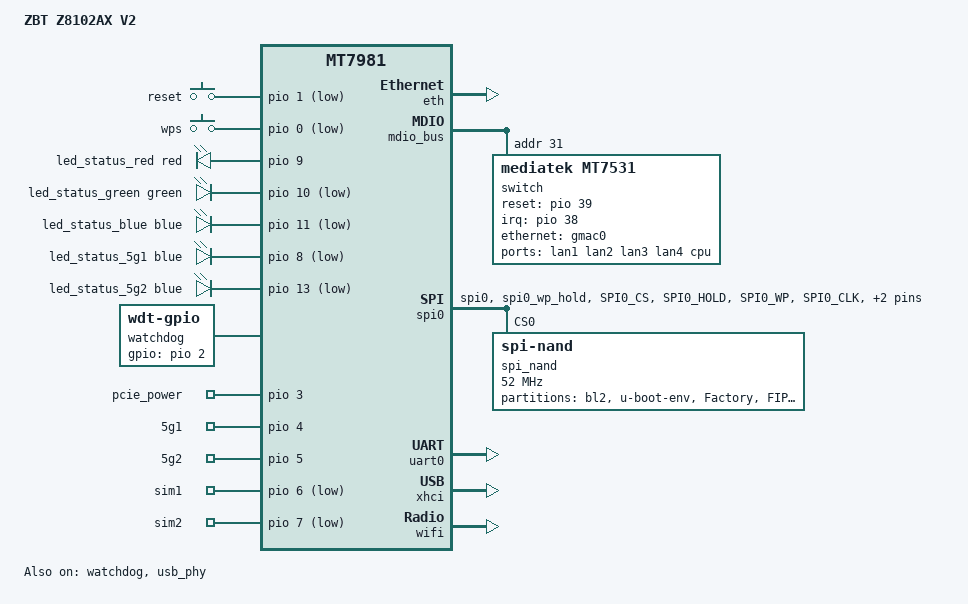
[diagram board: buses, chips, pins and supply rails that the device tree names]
// SPDX-License-Identifier: GPL-2.0-or-later OR MIT 

/dts-v1/;
#include <dt-bindings/gpio/gpio.h>
#include <dt-bindings/input/input.h>

#include "mt7981.dtsi"

/ {
	model = "ZBT Z8102AX V2";
	compatible = "zbtlink,zbt-z8102ax-v2", "mediatek,mt7981";

	aliases {
		serial0 = &uart0;
		led-boot = &led_status_red;
		led-failsafe = &led_status_red;
		led-running = &led_status_green;
		led-upgrade = &led_status_green;
		label-mac-device = &gmac0;
	};

	chosen {
		stdout-path = "serial0:115200n8";
		bootargs = "earlycon=uart8250,mmio32,0x11002000 console=ttyS0,115200n8";
	};

	gpio-keys {
		compatible = "gpio-keys";

		reset {
			label = "reset";
			linux,code = <KEY_RESTART>;
			gpios = <&pio 1 GPIO_ACTIVE_LOW>;
		};

		wps {
			label = "wps";
			linux,code = <KEY_WPS_BUTTON>;
			gpios = <&pio 0 GPIO_ACTIVE_LOW>;
		};

	};

	leds {
		compatible = "gpio-leds";

		led_status_red: red {
			gpios = <&pio 9 GPIO_ACTIVE_HIGH>;
			color = <LED_COLOR_ID_RED>;
			function = LED_FUNCTION_STATUS;
		};

		led_status_green: green {
			gpios = <&pio 10 GPIO_ACTIVE_LOW>;
			color = <LED_COLOR_ID_GREEN>;
			function = LED_FUNCTION_STATUS;
		};

		led_status_blue: blue {
			gpios = <&pio 11 GPIO_ACTIVE_LOW>;
			color = <LED_COLOR_ID_BLUE>;
			function = LED_FUNCTION_STATUS;
		};

		led_status_5g1: 5g1 {
			gpios = <&pio 8 GPIO_ACTIVE_LOW>;
			color = <LED_COLOR_ID_BLUE>;
			function = LED_FUNCTION_USB;
			function-enumerator = <0>;
		};

		led_status_5g2: 5g2 {
			gpios = <&pio 13 GPIO_ACTIVE_LOW>;
			color = <LED_COLOR_ID_BLUE>;
			function = LED_FUNCTION_USB;
			function-enumerator = <1>;
		};
	};

	watchdog {
		compatible = "linux,wdt-gpio";
		gpios = <&pio 2 GPIO_ACTIVE_HIGH>;
		hw_algo = "toggle";
		hw_margin_ms = <1000>;
	};

	gpio-export {
		compatible = "gpio-export";
		#size-cells = <0>;

		pcie {
			gpio-export,name = "pcie_power";
			gpio-export,output = <1>;
			gpios = <&pio 3 GPIO_ACTIVE_HIGH>;
		};

		5g1 {
			gpio-export,name = "5g1";
			gpio-export,output = <1>;
			gpios = <&pio 4 GPIO_ACTIVE_HIGH>;
		};

		5g2 {
			gpio-export,name = "5g2";
			gpio-export,output = <1>;
			gpios = <&pio 5 GPIO_ACTIVE_HIGH>;
		};

		sim1 {
			gpio-export,name = "sim1";
			gpio-export,output = <0>;
			gpios = <&pio 6 GPIO_ACTIVE_LOW>;
		};

		sim2 {
			gpio-export,name = "sim2";
			gpio-export,output = <0>;
			gpios = <&pio 7 GPIO_ACTIVE_LOW>;
		};
	};
};

&eth {
	status = "okay";

	gmac0: mac@0 {
		compatible = "mediatek,eth-mac";
		reg = <0>;
		phy-mode = "2500base-x";
		nvmem-cell-names = "mac-address";

		fixed-link {
			speed = <2500>;
			full-duplex;
			pause;
		};
	};

	gmac1: mac@1 {
		compatible = "mediatek,eth-mac";
		reg = <1>;
		phy-mode = "gmii";
		phy-handle = <&int_gbe_phy>;
		nvmem-cell-names = "mac-address";
		nvmem-cells = <&macaddr_factory_02a>;
	};
};

&mdio_bus {
	switch: switch@1f {
		compatible = "mediatek,mt7531";
		reg = <31>;
		reset-gpios = <&pio 39 GPIO_ACTIVE_HIGH>;
		interrupt-controller;
		#interrupt-cells = <1>;
		interrupt-parent = <&pio>;
		interrupts = <38 IRQ_TYPE_LEVEL_HIGH>;
	};
};

&spi0 {
	pinctrl-names = "default";
	pinctrl-0 = <&spi0_flash_pins>;
	status = "okay";

	spi_nand@0 {
		compatible = "spi-nand";
		#address-cells = <1>;
		#size-cells = <1>;
		reg = <0>;

		spi-max-frequency = <52000000>;
		spi-tx-buswidth = <4>;
		spi-rx-buswidth = <4>;

		mediatek,nmbm;
		mediatek,bmt-max-ratio = <1>;
		mediatek,bmt-max-reserved-blocks = <64>;

		partitions {
			compatible = "fixed-partitions";
			#address-cells = <1>;
			#size-cells = <1>;

			partition@0 {
				label = "bl2";
				reg = <0x0000000 0x0100000>;
				read-only;
			};

			partition@100000 {
				label = "u-boot-env";
				reg = <0x0100000 0x0080000>;
			};

			factory: partition@180000 {
				label = "Factory";
				reg = <0x0180000 0x0200000>;
				read-only;
			};

			partition@380000 {
				label = "FIP";
				reg = <0x0380000 0x0200000>;
				read-only;
			};

			nand_rootfs: partition@580000 {
				label = "ubi";
				reg = <0x0580000 0x7280000>;
			};
		};
	};
};

&switch {
	ports {
		#address-cells = <1>;
		#size-cells = <0>;

		port@0 {
			reg = <0>;
			label = "lan1";
			nvmem-cell-names = "mac-address";
			nvmem-cells = <&macaddr_factory_004>;
		};

		port@1 {
			reg = <1>;
			label = "lan2";
			nvmem-cell-names = "mac-address";
			nvmem-cells = <&macaddr_factory_004>;
		};

		port@2 {
			reg = <2>;
			label = "lan3";
			nvmem-cell-names = "mac-address";
			nvmem-cells = <&macaddr_factory_004>;
		};

		port@3 {
			reg = <3>;
			label = "lan4";
			nvmem-cell-names = "mac-address";
			nvmem-cells = <&macaddr_factory_004>;
		};

		port@6 {
			reg = <6>;
			label = "cpu";
			ethernet = <&gmac0>;
			phy-mode = "2500base-x";

			fixed-link {
				speed = <2500>;
				full-duplex;
				pause;
			};
		};
	};
};

&pio {
	gpio-line-names = 
			"wps",
			"reset",
			"watchdog",
			"pcie",
			"5g1",
			"5g2",
			"sim1",
			"sim2",
			"5g1_status",
			"red_status",
			"green_status",
			"blue_status",
			"",
			"5g2_status";

	spi0_flash_pins: spi0-pins {
		mux {
			function = "spi";
			groups = "spi0", "spi0_wp_hold";
		};

		conf-pu {
			pins = "SPI0_CS", "SPI0_HOLD", "SPI0_WP";
			drive-strength = <8>;
			mediatek,pull-up-adv = <0>; /* bias-disable */
		};

		conf-pd {
			pins = "SPI0_CLK", "SPI0_MOSI", "SPI0_MISO";
			drive-strength = <8>;
			mediatek,pull-up-adv = <0>; /* bias-disable */
		};
	};
};

&uart0 {
	status = "okay";
};

&watchdog {
	status = "okay";
};

&usb_phy {
	status = "okay";
};

&xhci {
	status = "okay";
};

&wifi {
	status = "okay";
        nvmem-cells = <&eeprom_factory>;
        nvmem-cell-names = "eeprom";
};

&factory {
	compatible = "nvmem-cells";
	#address-cells = <1>;
	#size-cells = <1>;

	macaddr_factory_004: macaddr@004 {
		reg = <0x004 0x6>;
	};
	macaddr_factory_02a: macaddr@02a {
		reg = <0x02a 0x6>;
	};
        eeprom_factory: eeprom@0 {
		reg = <0x0 0x1000>;
	};
};
